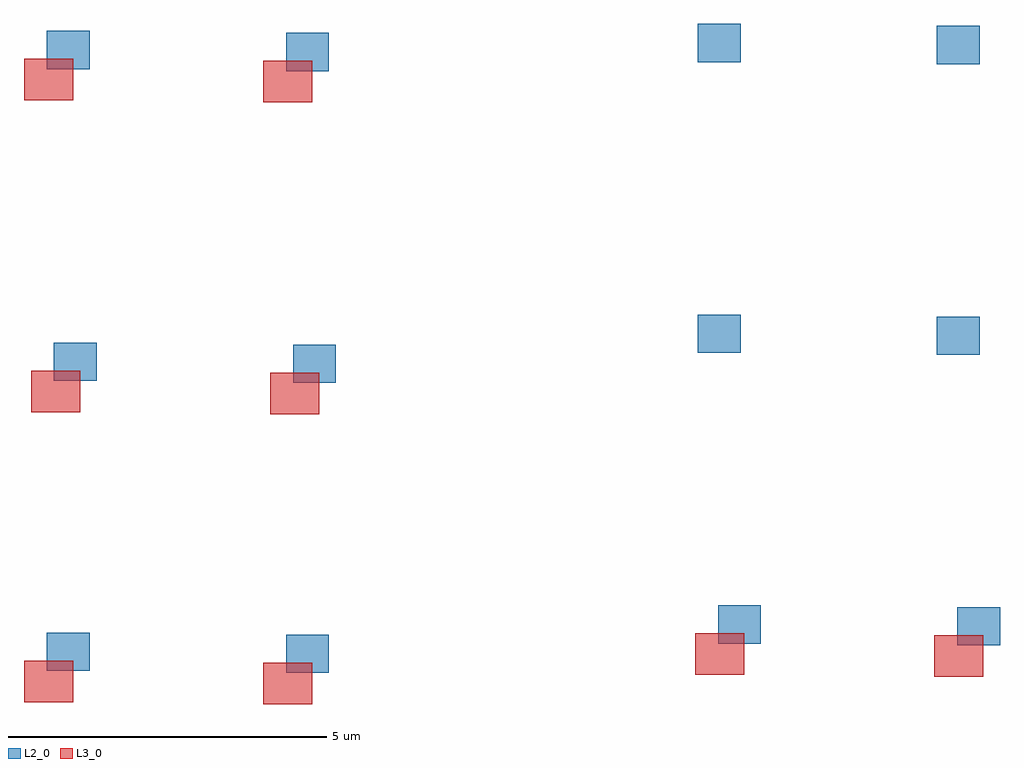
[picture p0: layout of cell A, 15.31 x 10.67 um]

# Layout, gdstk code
from math import pi, radians
import gdstk
lib = gdstk.Library(unit=1e-6, precision=1e-09)
def R(c, l, rs):  # rectangles x0, y0, x1, y1
    for r in rs: c.add(gdstk.rectangle(r[:2], r[2:], *l))
L2_0 = (2, 0)
L3_0 = (3, 0)

c_c = lib.new_cell('C')
R(c_c, L2_0, [(-0.27,-0.33,0.4,0.27)])

c_b = lib.new_cell('B')
c_b.add(gdstk.Reference(c_c, (1.74,1.62), rotation=pi/2))
c_b.add(gdstk.Reference(c_c, (1.77,5.37), rotation=pi/2))

c_a = lib.new_cell('A')
R(c_a, L3_0, [(5.46,1.92,6.23,2.57), (1.71,1.95,2.48,2.6), (15.99,2.35,16.76,3), (12.24,2.38,13.01,3.03), (5.57,6.47,6.34,7.12), (1.82,6.5,2.59,7.15), (5.46,11.36,6.23,12.01), (1.71,11.39,2.48,12.04)])
c_a.add(gdstk.Reference(c_b, (7.84,0.94), rotation=pi/2))
c_a.add(gdstk.Reference(c_b, (18.37,1.37), rotation=pi/2))
c_a.add(gdstk.Reference(c_b, (7.95,5.49), rotation=pi/2))
c_a.add(gdstk.Reference(c_b, (18.05,5.93), rotation=pi/2))
c_a.add(gdstk.Reference(c_b, (7.84,10.38), rotation=pi/2))
c_a.add(gdstk.Reference(c_b, (18.05,10.49), rotation=pi/2))

lib.write_gds('A.gds')
